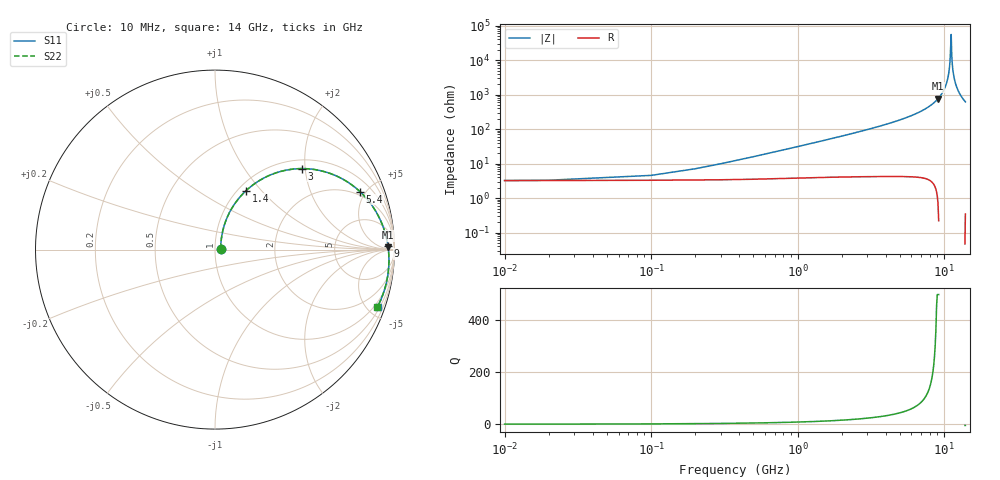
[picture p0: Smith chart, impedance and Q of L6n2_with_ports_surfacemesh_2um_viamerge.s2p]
#  GHZ S DB R 50.0
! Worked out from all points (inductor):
!   142 points, 10 MHz to 14 GHz, reference 50 ohm
!   read as one part in series: L = 4.92 nH near 400 MHz
!   highest Q = 1.06e+03 at 9.1 GHz (marker M1), where L = 13.2 nH
!   self-resonance near 11.1 GHz
!   S11 on the Smith chart (normalised r, x): 10 MHz: 1.06, +0.01; 1.4 GHz: 1.09, +0.83; 3 GHz: 1.20, +1.92; 5.4 GHz: 1.72, +4.57; 9 GHz: 40, +24; 14 GHz: 0.71, -5.76
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0.01  -30.07 5.2  -0.28 -0.2  -0.28 -0.2  -30.07 5.2
0.3  -21.04 64.4  -0.34 -5.6  -0.34 -5.6  -21.04 64.4
0.5  -16.96 69.1  -0.43 -9.1  -0.43 -9.1  -16.96 69.1
0.9  -12.12 67.9  -0.68 -15.8  -0.68 -15.8  -12.12 67.9
1.4  -8.63 62.3  -1.09 -23.7  -1.09 -23.7  -8.63 62.3
2.4  -4.88 49.9  -2.27 -37.8  -2.27 -37.8  -4.88 49.9
3  -3.59 43.0  -3.14 -45.1  -3.14 -45.1  -3.59 43.0
4.7  -1.63 27.1  -6.04 -61.8  -6.04 -61.8  -1.64 27.1
5.4  -1.21 21.8  -7.40 -67.3  -7.40 -67.3  -1.21 21.8
7.1  -0.61 11.0  -11.24 -78.5  -11.24 -78.5  -0.61 11.0
9  -0.32 1.3  -17.42 -88.7  -17.42 -88.7  -0.32 1.3
9.1  -0.31 0.8  -17.86 -89.2  -17.86 -89.2  -0.31 0.8
9.4  -0.29 -0.6  -19.32 -90.7  -19.32 -90.7  -0.29 -0.6
10.2  -0.25 -4.2  -24.77 -94.7  -24.77 -94.7  -0.25 -4.2
10.7  -0.24 -6.3  -31.16 -97.8  -31.16 -97.8  -0.24 -6.3
11  -0.23 -7.6  -39.93 -102.2  -39.93 -102.2  -0.24 -7.6
11.2  -0.23 -8.4  -55.15 111.3  -55.15 111.3  -0.24 -8.4
11.3  -0.23 -8.8  -42.73 88.2  -42.73 88.2  -0.24 -8.8
11.4  -0.24 -9.2  -37.73 84.8  -37.73 84.8  -0.24 -9.2
11.7  -0.24 -10.4  -30.49 81.4  -30.49 81.4  -0.24 -10.4
12.5  -0.26 -13.6  -22.64 77.1  -22.64 77.1  -0.26 -13.6
14  -0.35 -19.4  -16.35 70.8  -16.35 70.8  -0.36 -19.4
